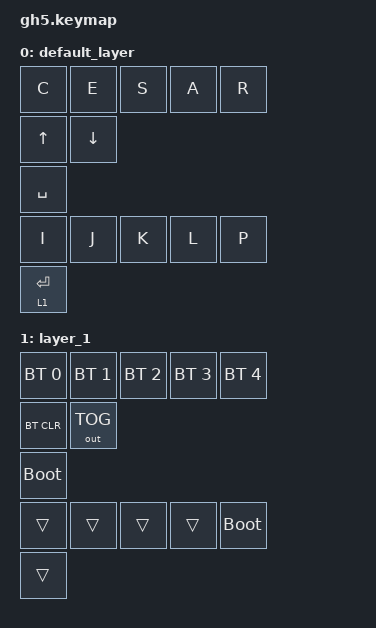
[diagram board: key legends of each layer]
/*
 * Copyright (c) 2020 The ZMK Contributors
 *
 * SPDX-License-Identifier: MIT
 */

#include <behaviors.dtsi>
#include <dt-bindings/zmk/bt.h>
#include <dt-bindings/zmk/keys.h>
#include <dt-bindings/zmk/outputs.h>

&lt {
    flavor = "balanced";
};

/ { 

        keymap {
                compatible = "zmk,keymap";

       		default_layer {
		bindings = <
		// frets
		&kp C &kp E &kp S &kp A &kp R
		// strum
		&kp UP &kp DOWN
		// select
		&kp SPC
		// wasd and ps
		//&kp GAME(2) &kp GAME(3) &kp GAME(4) &kp GAME(5) &kp GAME(6) 
		&kp I &kp J &kp K &kp L &kp P
		// start
		&lt 1 RET
		>;
		};
                
       		layer_1 {
		bindings = <
		// frets
		&bt BT_SEL 0 &bt BT_SEL 1 &bt BT_SEL 2 &bt BT_SEL 3 &bt BT_SEL 4
		// strum up & down
		&bt BT_CLR &out OUT_TOG
		// select
		&bootloader
		// wasd + ps
		//&tog 2 &tog 2 &tog 2 &tog 2 &tog 2 
		&trans &trans &trans &trans &bootloader
		// start
		&trans
		>;
		};
	};
};
